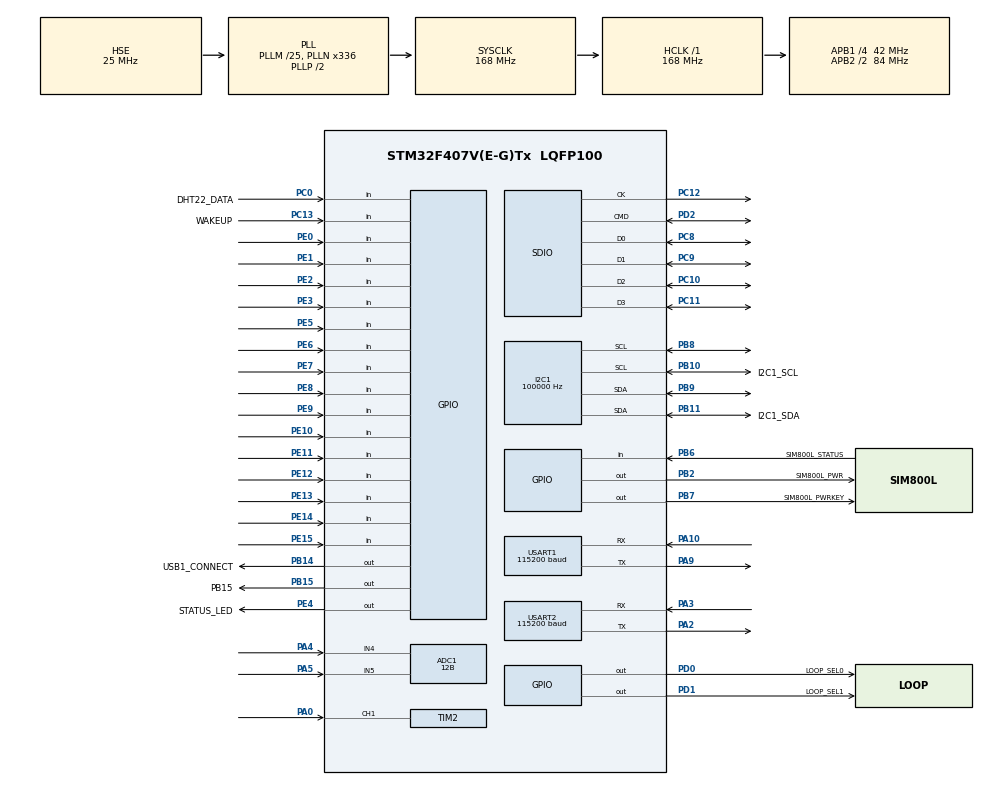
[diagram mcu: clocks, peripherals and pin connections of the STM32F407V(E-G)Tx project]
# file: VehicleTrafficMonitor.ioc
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Mcu.Family=STM32F4
Mcu.Name=STM32F407V(E-G)Tx
Mcu.Package=LQFP100
NVIC.PriorityGroup=NVIC_PRIORITYGROUP_4
NVIC.TIM2_IRQn=true\:5\:0\:true\:false\:true\:true\:true\:true
NVIC.TIM4_IRQn=true\:10\:0\:true\:false\:true\:true\:true\:true
NVIC.USART1_IRQn=true\:7\:0\:true\:false\:true\:true\:true\:true
NVIC.USART2_IRQn=true\:6\:0\:true\:false\:true\:true\:true\:true
PA0-WKUP.Signal=S_TIM2_CH1_ETR
PA10.Mode=Asynchronous
PA10.Signal=USART1_RX
PA13.Mode=Serial_Wire
PA13.Signal=SYS_JTMS-SWDIO
PA14.Mode=Serial_Wire
PA14.Signal=SYS_JTCK-SWCLK
PA2.Mode=Asynchronous
PA2.Signal=USART2_TX
PA3.Mode=Asynchronous
PA3.Signal=USART2_RX
PA4.Signal=ADCx_IN4
PA5.Signal=ADCx_IN5
PA8.GPIO_Label=MCO
PA8.Signal=RCC_MCO_1
PA9.Mode=Asynchronous
PA9.Signal=USART1_TX
PB10.GPIO_Label=I2C1_SCL
PB10.Mode=I2C
PB10.Signal=I2C1_SCL
PB11.GPIO_Label=I2C1_SDA
PB11.Mode=I2C
PB11.Signal=I2C1_SDA
PB14.GPIO_Label=USB1_CONNECT
PB14.GPIO_ModeDefaultOutputPP=GPIO_MODE_OUTPUT_PP
PB14.GPIO_PuPd=GPIO_NOPULL
PB14.Signal=GPIO_Output
PB15.GPIO_Label=PB15
PB15.GPIO_ModeDefaultOutputPP=GPIO_MODE_OUTPUT_PP
PB15.GPIO_PuPd=GPIO_NOPULL
PB15.Signal=GPIO_Output
PB2.GPIO_Label=SIM800L_PWR
PB2.GPIO_ModeDefaultOutputPP=GPIO_MODE_OUTPUT_PP
PB2.GPIO_PuPd=GPIO_NOPULL
PB2.Signal=GPIO_Output
PB6.GPIO_Label=SIM800L_STATUS
PB6.GPIO_PuPd=GPIO_PULLUP
PB6.Signal=GPIO_Input
PB7.GPIO_Label=SIM800L_PWRKEY
PB7.GPIO_ModeDefaultOutputPP=GPIO_MODE_OUTPUT_PP
PB7.GPIO_PuPd=GPIO_NOPULL
PB7.Signal=GPIO_Output
PB8.Mode=I2C
PB8.Signal=I2C1_SCL
PB9.Mode=I2C
PB9.Signal=I2C1_SDA
PC0.GPIO_Label=DHT22_DATA
PC0.Signal=GPIO_Input
PC10.Mode=SD_4_bits_Wide_bus
PC10.Signal=SDIO_D2
PC11.Mode=SD_4_bits_Wide_bus
PC11.Signal=SDIO_D3
PC12.Mode=SD_4_bits_Wide_bus
PC12.Signal=SDIO_CK
PC13-ANTI_TAMP.GPIO_Label=WAKEUP
PC13-ANTI_TAMP.GPIO_PuPd=GPIO_PULLUP
PC13-ANTI_TAMP.Signal=GPIO_Input
PC14-OSC32_IN.Mode=LSE-External-Oscillator
PC14-OSC32_IN.Signal=RCC_OSC32_IN
PC15-OSC32_OUT.Mode=LSE-External-Oscillator
PC15-OSC32_OUT.Signal=RCC_OSC32_OUT
PC8.Mode=SD_4_bits_Wide_bus
PC8.Signal=SDIO_D0
PC9.Mode=SD_4_bits_Wide_bus
PC9.Signal=SDIO_D1
PD0.GPIO_Label=LOOP_SEL0
PD0.GPIO_ModeDefaultOutputPP=GPIO_MODE_OUTPUT_PP
PD0.Signal=GPIO_Output
PD1.GPIO_Label=LOOP_SEL1
PD1.GPIO_ModeDefaultOutputPP=GPIO_MODE_OUTPUT_PP
PD1.Signal=GPIO_Output
PD2.Mode=SD_4_bits_Wide_bus
PD2.Signal=SDIO_CMD
PE0.Signal=GPIO_Input
PE1.Signal=GPIO_Input
PE10.Signal=GPIO_Input
PE11.Signal=GPIO_Input
PE12.Signal=GPIO_Input
PE13.Signal=GPIO_Input
PE14.Signal=GPIO_Input
PE15.Signal=GPIO_Input
PE2.Signal=GPIO_Input
PE3.Signal=GPIO_Input
PE4.GPIO_Label=STATUS_LED
PE4.GPIO_ModeDefaultOutputPP=GPIO_MODE_OUTPUT_PP
PE4.GPIO_PuPd=GPIO_NOPULL
PE4.Signal=GPIO_Output
PE5.Signal=GPIO_Input
PE6.Signal=GPIO_Input
PE7.Signal=GPIO_Input
PE8.Signal=GPIO_Input
PE9.Signal=GPIO_Input
PH0-OSC_IN.Mode=HSE-External-Oscillator
PH0-OSC_IN.Signal=RCC_OSC_IN
PH1-OSC_OUT.Mode=HSE-External-Oscillator
PH1-OSC_OUT.Signal=RCC_OSC_OUT
ProjectManager.HeapSize=0x200
ProjectManager.StackSize=0x400
ProjectManager.TargetToolchain=STM32CubeIDE
RCC.48MHZClocksFreq_Value=48000000
RCC.AHBFreq_Value=168000000
RCC.APB1CLKDivider=RCC_HCLK_DIV4
RCC.APB1Freq_Value=42000000
RCC.APB1TimFreq_Value=84000000
RCC.APB2CLKDivider=RCC_HCLK_DIV2
RCC.APB2Freq_Value=84000000
RCC.APB2TimFreq_Value=168000000
RCC.CortexFreq_Value=168000000
RCC.HCLKFreq_Value=168000000
RCC.HSE_VALUE=25000000
RCC.HSI_VALUE=16000000
RCC.LSE_VALUE=32768
RCC.PLLM=25
RCC.PLLN=336
RCC.PLLQ=7
RCC.PLLSourceVirtual=RCC_PLLSOURCE_HSE
RCC.SYSCLKFreq_VALUE=168000000
RCC.SYSCLKSource=RCC_SYSCLKSOURCE_PLLCLK
RCC.VCOOutputFreq_Value=336000000
SH.ADCx_IN4.0=ADC1_IN4,IN4
SH.ADCx_IN5.0=ADC1_IN5,IN5
SH.S_TIM2_CH1_ETR.0=TIM2_CH1,Input_Capture1_from_TI1
USART1.BaudRate=115200
USART1.VirtualMode=VM_ASYNC
USART2.BaudRate=115200
USART2.VirtualMode=VM_ASYNC
VP_IWDG_VS_IWDG.Mode=IWDG_Activate
VP_RTC_VS_RTC_Activate.Mode=RTC_Enabled
VP_TIM4_VS_ClockSourceINT.Mode=Internal
ADC1.Channel-0\#ChannelRegularConversion=ADC_CHANNEL_4
ADC1.Channel-1\#ChannelRegularConversion=ADC_CHANNEL_5
ADC1.ClockPrescaler=ADC_CLOCK_SYNC_PCLK_DIV4
ADC1.ContinuousConvMode=ENABLE
ADC1.DataAlign=ADC_DATAALIGN_RIGHT
ADC1.DiscontinuousConvMode=DISABLE
ADC1.DMAContinuousRequests=ENABLE
ADC1.EOCSelection=ADC_EOC_SEQ_CONV
ADC1.EnableAnalogWatchDog=false
ADC1.ExternalTrigConv=ADC_SOFTWARE_START
ADC1.ExternalTrigConvEdge=ADC_EXTERNALTRIGCONVEDGE_NONE
ADC1.NbrOfConversion=2
ADC1.NbrOfConversionFlag=1
ADC1.Rank-0\#ChannelRegularConversion=1
ADC1.Rank-1\#ChannelRegularConversion=2
ADC1.Resolution=ADC_RESOLUTION_12B
ADC1.SamplingTime-0\#ChannelRegularConversion=ADC_SAMPLETIME_15CYCLES
ADC1.SamplingTime-1\#ChannelRegularConversion=ADC_SAMPLETIME_15CYCLES
ADC1.ScanConvMode=ENABLE
ADC1.master=1
I2C1.ClockSpeed=100000
I2C1.I2C_Mode=I2C_Standard
IWDG.Prescaler=IWDG_PRESCALER_64
IWDG.Reload=625
RTC.Format=RTC_FORMAT_BIN
RTC.HourFormat=RTC_HOURFORMAT_24
RTC.AsynchPrediv=127
RTC.SynchPrediv=255
SDIO.ClockDiv=0
SDIO.ClockPowerSave=SDIO_CLOCK_POWER_SAVE_DISABLE
SDIO.BusWide=SDIO_BUS_WIDE_4B
SDIO.HardwareFlowControl=SDIO_HARDWARE_FLOW_CONTROL_DISABLE
TIM2.Channel-Input_Capture1_from_TI1=TIM_CHANNEL_1
TIM2.ICPolarity_CH1=TIM_INPUTCHANNELPOLARITY_RISING
TIM2.Period=65535
TIM2.Prescaler=167
TIM4.Period=1999
TIM4.Prescaler=83
board=custom

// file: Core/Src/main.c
/* USER CODE BEGIN Header */
/**
  ******************************************************************************
  * @file           : main.c
  * @brief          : Main program body - Vehicle Traffic Monitoring System
  * @author         : Generated by STM32CubeMX + Custom Application Code
  ******************************************************************************
  * @attention
  *
  * Copyright (c) 2024 STMicroelectronics.
  * All rights reserved.
  *
  * This software is licensed under terms that can be found in the LICENSE file
  * in the root directory of this software component.
  * If no LICENSE file comes with this software, it is provided AS-IS.
  *
  ******************************************************************************
  */
/* USER CODE END Header */
#include "main.h"
#include "tim.h"
#include "config.h"
#include "sensor_driver.h"
#include "sim800l_driver.h"
#include "vehicle_detection.h"
#include <string.h>
#include <stdio.h>

extern ADC_HandleTypeDef hadc1;
extern I2C_HandleTypeDef hi2c1;
extern RTC_HandleTypeDef hrtc;
extern SD_HandleTypeDef hsd;
extern TIM_HandleTypeDef htim2;
extern TIM_HandleTypeDef htim4;
extern UART_HandleTypeDef huart1;
extern UART_HandleTypeDef huart2;
extern IWDG_HandleTypeDef hiwdg;  // Defined in iwdg.c

/* USER CODE BEGIN PV */

// System state variables
static uint32_t system_tick = 0;
static uint32_t last_send_time = 0;
static uint8_t device_initialized = 0;

// Traffic statistics (use the built-in statistics from vehicle detection)
static uint16_t lane1_count = 0;
static uint16_t lane2_count = 0;

// Environmental data
static float temperature = 0.0f;
static float humidity = 0.0f;
static float battery_voltage = 0.0f;

// Serial console
static uint8_t console_rx_byte;

// SIM800L configuration
static SIM800L_Config_t sim800l_config = {
    .apn = DEFAULT_APN,
    .apn_user = DEFAULT_APN_USER,
    .apn_pass = DEFAULT_APN_PASS,
    .server_ip = DEFAULT_SERVER_IP,
    .server_port = DEFAULT_SERVER_PORT,
    .timeout_ms = SIM800L_RESPONSE_TIMEOUT
};

/* USER CODE END PV */

void SystemClock_Config(void);
static void MX_GPIO_Init(void);
static void MX_ADC1_Init(void);
static void MX_I2C1_Init(void);
static void MX_RTC_Init(void);
static void MX_SDIO_SD_Init(void);
// MX_TIM2_Init and MX_TIM4_Init are declared in tim.h
static void MX_USART1_UART_Init(void);
static void MX_USART2_UART_Init(void);
static void MX_IWDG_Init(void);
/* USER CODE BEGIN PFP */

static void Process_1ms_Tasks(void);
static void Process_10min_Tasks(void);
static void Read_Battery_Voltage(void);
static void Read_Temperature_Humidity(void);
static void Send_Data_To_Server(void);
static void Process_Console_Command(char *cmd);
static void Print_Console_Menu(void);

/* USER CODE END PFP */

/* USER CODE BEGIN 0 */

/**
  * @brief  Printf retarget for UART1 console
  */
int _write(int file, char *ptr, int len)
{
    HAL_UART_Transmit(&huart1, (uint8_t*)ptr, len, HAL_MAX_DELAY);
    return len;
}

/**
  * @brief  1ms periodic tasks
  */
static void Process_1ms_Tasks(void)
{
    system_tick++;

    // Process sensor readings
    Sensor_Process();

    // Process vehicle detection
    VehicleDetection_Process();
}

/**
  * @brief  10-minute periodic tasks
  */
static void Process_10min_Tasks(void)
{
    printf("\r\n[INFO] 10-minute interval reached. Preparing data transmission...\r\n");

    // Read environmental sensors
    Read_Temperature_Humidity();
    Read_Battery_Voltage();

    // Send data to server
    Send_Data_To_Server();

    // Reset statistics
    VehicleDetection_ResetInterval();
    lane1_count = 0;
    lane2_count = 0;

    last_send_time = system_tick;
}

/**
  * @brief  Read battery voltage via ADC
  */
static void Read_Battery_Voltage(void)
{
    uint32_t adc_value = 0;

    HAL_ADC_Start(&hadc1);
    if (HAL_ADC_PollForConversion(&hadc1, 100) == HAL_OK) {
        adc_value = HAL_ADC_GetValue(&hadc1);
        // Voltage divider: 12V -> 3.3V (R1=10k, R2=3.9k)
        // ADC 12-bit: 4095 = 3.3V
        // Actual voltage = (adc_value * 3.3 / 4095) * (10 + 3.9) / 3.9
        battery_voltage = (adc_value * 3.3f / 4095.0f) * 3.564f;
    }
    HAL_ADC_Stop(&hadc1);

    printf("[BATTERY] Voltage: %.2f V\r\n", battery_voltage);

    if (battery_voltage < 11.0f) {
        printf("[WARNING] Low battery voltage!\r\n");
    }
}

/**
  * @brief  Read temperature and humidity from DHT22 or SHT30
  */
static void Read_Temperature_Humidity(void)
{
    // TODO: Implement DHT22 or SHT30 reading based on hardware
    // For now, use dummy values
    temperature = 25.0f;
    humidity = 60.0f;

    printf("[SENSOR] Temperature: %.1f C, Humidity: %.1f %%\r\n", temperature, humidity);
}

/**
  * @brief  Send traffic data to server via SIM800L
  */
static void Send_Data_To_Server(void)
{
    char json_buffer[2048];
    int json_len = 0;

    // Get interval statistics
    const IntervalStats_t *stats = VehicleDetection_GetIntervalStats();

    const LaneStats_t *lane1 = &stats->lane[0];
    const LaneStats_t *lane2 = &stats->lane[1];

    // Build JSON payload
    json_len = snprintf(json_buffer, sizeof(json_buffer),
        "{"
        "\"device_id\":\"%s\","
        "\"timestamp\":%lu,"
        "\"lane1\":{"
            "\"total\":%u,"
            "\"class_x\":%u,\"class_a\":%u,\"class_b\":%u,"
            "\"class_c\":%u,\"class_d\":%u,\"class_e\":%u,"
            "\"avg_speed\":%u,"
            "\"occupancy\":%.2f"
        "},"
        "\"lane2\":{"
            "\"total\":%u,"
            "\"class_x\":%u,\"class_a\":%u,\"class_b\":%u,"
            "\"class_c\":%u,\"class_d\":%u,\"class_e\":%u,"
            "\"avg_speed\":%u,"
            "\"occupancy\":%.2f"
        "},"
        "\"environment\":{"
            "\"temperature\":%.1f,"
            "\"humidity\":%.1f,"
            "\"battery_voltage\":%.2f"
        "},"
        "\"status\":{"
            "\"sensor_status\":\"OK\","
            "\"uptime\":%lu"
        "}"
        "}",
        DEFAULT_DEVICE_ID,
        system_tick / 1000,
        lane1->total_vehicles,
        lane1->class_X.count, lane1->class_A.count, lane1->class_B.count,
        lane1->class_C.count, lane1->class_D.count, lane1->class_E.count,
        lane1->class_A.avg_speed,
        lane1->occupancy_rate,
        lane2->total_vehicles,
        lane2->class_X.count, lane2->class_A.count, lane2->class_B.count,
        lane2->class_C.count, lane2->class_D.count, lane2->class_E.count,
        lane2->class_A.avg_speed,
        lane2->occupancy_rate,
        temperature, humidity, battery_voltage,
        system_tick / 1000
    );

    printf("\r\n[DATA] JSON Payload (%d bytes):\r\n%s\r\n", json_len, json_buffer);

    // Temporarily skip SIM800L sending for testing
    printf("[INFO] SIM800L sending disabled (testing mode)\r\n");
    printf("[INFO] Data would be sent to %s:%d\r\n",
           sim800l_config.server_ip, sim800l_config.server_port);

    // Send via SIM800L (disabled for testing)
    // if (SIM800L_SendJSON(json_buffer) == HAL_OK) {
    //     printf("[SUCCESS] Data sent to server successfully!\r\n");
    // } else {
    //     printf("[ERROR] Failed to send data to server!\r\n");
    // }
}

/**
  * @brief  Process console command
  */
static void Process_Console_Command(char *cmd)
{
    if (strcmp(cmd, "help") == 0) {
        Print_Console_Menu();
    }
    else if (strcmp(cmd, "status") == 0) {
        printf("\r\n=== SYSTEM STATUS ===\r\n");
        printf("Device ID: %s\r\n", DEFAULT_DEVICE_ID);
        printf("Firmware: %s\r\n", FIRMWARE_VERSION);
        printf("Uptime: %lu seconds\r\n", system_tick / 1000);
        printf("Battery: %.2f V\r\n", battery_voltage);
        printf("Temperature: %.1f C\r\n", temperature);
        printf("Humidity: %.1f %%\r\n", humidity);
        printf("Lane 1 Count: %u vehicles\r\n", lane1_count);
        printf("Lane 2 Count: %u vehicles\r\n", lane2_count);
        printf("Next send: %lu seconds\r\n", (DATA_SEND_INTERVAL - (system_tick - last_send_time)) / 1000);
    }
    else if (strcmp(cmd, "calibrate") == 0) {
        printf("\r\n[INFO] Starting sensor calibration...\r\n");
        Sensor_Calibrate();
        printf("[SUCCESS] Calibration complete!\r\n");
    }
    else if (strcmp(cmd, "send") == 0) {
        printf("\r\n[INFO] Manual data transmission requested...\r\n");
        Process_10min_Tasks();
    }
    else if (strcmp(cmd, "reset") == 0) {
        printf("\r\n[INFO] System reset requested. Rebooting in 3 seconds...\r\n");
        HAL_Delay(3000);
        NVIC_SystemReset();
    }
    else {
        printf("\r\nUnknown command: '%s'. Type 'help' for available commands.\r\n", cmd);
    }
}

/**
  * @brief  Print console menu
  */
static void Print_Console_Menu(void)
{
    printf("\r\n");
    printf("========================================\r\n");
    printf("  Vehicle Traffic Monitoring System\r\n");
    printf("  Firmware v%s\r\n", FIRMWARE_VERSION);
    printf("========================================\r\n");
    printf("Available commands:\r\n");
    printf("  help       - Show this menu\r\n");
    printf("  status     - Show system status\r\n");
    printf("  calibrate  - Calibrate sensors\r\n");
    printf("  send       - Send data now (manual)\r\n");
    printf("  reset      - Reset system\r\n");
    printf("========================================\r\n\r\n");
}

/**
  * @brief  UART1 RX callback (console)
  */
void HAL_UART_RxCpltCallback(UART_HandleTypeDef *huart)
{
    static char cmd_buffer[64];
    static uint8_t cmd_index = 0;

    if (huart == &huart1) {
        // Echo character
        HAL_UART_Transmit(&huart1, &console_rx_byte, 1, 10);

        if (console_rx_byte == '\r' || console_rx_byte == '\n') {
            if (cmd_index > 0) {
                cmd_buffer[cmd_index] = '\0';
                printf("\r\n");
                Process_Console_Command(cmd_buffer);
                cmd_index = 0;
                printf("> ");
            }
        }
        else if (console_rx_byte == 8 || console_rx_byte == 127) { // Backspace
            if (cmd_index > 0) {
                cmd_index--;
                printf(" \b");
            }
        }
        else if (cmd_index < sizeof(cmd_buffer) - 1) {
            cmd_buffer[cmd_index++] = console_rx_byte;
        }

        // Re-enable RX interrupt
        HAL_UART_Receive_IT(&huart1, &console_rx_byte, 1);
    }
}

/**
  * @brief  TIM4 period elapsed callback (1ms tick)
  */
void HAL_TIM_PeriodElapsedCallback(TIM_HandleTypeDef *htim)
{
    if (htim == &htim4) {
        Process_1ms_Tasks();

        // Check for 10-minute interval
        if ((system_tick - last_send_time) >= DATA_SEND_INTERVAL) {
            Process_10min_Tasks();
        }
    }
}

/**
  * @brief  TIM2 Input Capture callback (sensor pulse)
  */
void HAL_TIM_IC_CaptureCallback(TIM_HandleTypeDef *htim)
{
    if (htim == &htim2) {
        Sensor_IC_Callback(htim);
    }
}

/**
  * @brief  Vehicle detected callback
  */
void VehicleDetection_Callback(const VehicleInfo_t *vehicle)
{
    const char *class_names[] = {"X", "A", "B", "C", "D", "E", "?"};
    const char *dir_names[] = {"UNKNOWN", "UNKNOWN", "UNKNOWN", "UNKNOWN", "UNKNOWN",
                               "UNKNOWN", "UNKNOWN", "UNKNOWN", "UNKNOWN", "UNKNOWN",
                               "UNKNOWN", "UNKNOWN", "FORWARD", "UNKNOWN", "UNKNOWN",
                               "UNKNOWN", "UNKNOWN", "UNKNOWN", "UNKNOWN", "UNKNOWN",
                               "UNKNOWN", "REVERSE"};

    // Map class enum to index
    uint8_t class_idx = 6; // Unknown
    if (vehicle->class == 'X') class_idx = 0;
    else if (vehicle->class == 'A') class_idx = 1;
    else if (vehicle->class == 'B') class_idx = 2;
    else if (vehicle->class == 'C') class_idx = 3;
    else if (vehicle->class == 'D') class_idx = 4;
    else if (vehicle->class == 'E') class_idx = 5;

    printf("[VEHICLE] Lane %u: Class %s, Speed %u km/h, Length %u cm, Dir %s\r\n",
           vehicle->lane_id + 1,
           class_names[class_idx],
           vehicle->speed,
           vehicle->length,
           dir_names[vehicle->direction]);

    // Update counters
    if (vehicle->lane_id == 0) {
        lane1_count++;
    } else if (vehicle->lane_id == 1) {
        lane2_count++;
    }

    // Check for violations
    if (vehicle->speed_violation) {
        printf("[WARNING] Speed violation detected!\r\n");
    }
    if (vehicle->wrong_direction) {
        printf("[WARNING] Wrong direction detected!\r\n");
    }
    if (vehicle->short_headway) {
        printf("[WARNING] Short headway detected!\r\n");
    }
}

/* USER CODE END 0 */

int main(void)
{

  /* MCU Configuration--------------------------------------------------------*/

  /* Reset of all peripherals, Initializes the Flash interface and the Systick. */
  HAL_Init();

  /* Configure the system clock */
  SystemClock_Config();

  /* Initialize all configured peripherals */
  MX_GPIO_Init();
  MX_ADC1_Init();
  MX_I2C1_Init();
  MX_RTC_Init();
  MX_SDIO_SD_Init();
  MX_TIM2_Init();
  MX_TIM4_Init();
  MX_USART1_UART_Init();
  MX_USART2_UART_Init();
  // MX_IWDG_Init();  // Disabled for testing - was causing reset loop
  /* USER CODE BEGIN 2 */

  // Print startup message
  printf("\r\n\r\n");
  printf("========================================\r\n");
  printf("  Vehicle Traffic Monitoring System\r\n");
  printf("  STM32F407VGT6 - Firmware v%s\r\n", FIRMWARE_VERSION);
  printf("  Device ID: %s\r\n", DEFAULT_DEVICE_ID);
  printf("========================================\r\n\r\n");

  // Initialize custom drivers
  printf("[INIT] Initializing sensor driver...\r\n");
  if (Sensor_Init(&htim2) != HAL_OK) {
      printf("[ERROR] Sensor initialization failed!\r\n");
  } else {
      printf("[OK] Sensor driver initialized\r\n");
  }

  // Temporarily skip SIM800L for sensor testing
  printf("[INIT] Skipping SIM800L module (testing mode)...\r\n");
  printf("[INFO] SIM800L will be enabled later\r\n");
  // if (SIM800L_Init(&huart2, &sim800l_config) != HAL_OK) {
  //     printf("[ERROR] SIM800L initialization failed!\r\n");
  // } else {
  //     printf("[OK] SIM800L module initialized\r\n");
  // }

  printf("[INIT] Initializing vehicle detection...\r\n");
  if (VehicleDetection_Init() != HAL_OK) {
      printf("[ERROR] Vehicle detection initialization failed!\r\n");
  } else {
      printf("[OK] Vehicle detection initialized\r\n");
  }

  // Start timers
  HAL_TIM_Base_Start_IT(&htim4);  // 1ms tick timer
  HAL_TIM_IC_Start_IT(&htim2, TIM_CHANNEL_1);  // Input capture for sensors

  // Start UART receive
  HAL_UART_Receive_IT(&huart1, &console_rx_byte, 1);

  printf("\r\n[READY] System initialized successfully!\r\n");
  printf("Type 'help' for available commands.\r\n");
  printf("> ");

  device_initialized = 1;
  last_send_time = system_tick;

  /* USER CODE END 2 */

  /* Infinite loop */
  while (1)
  {

    /* USER CODE BEGIN 3 */

      // Refresh watchdog (disabled for testing)
      // HAL_IWDG_Refresh(&hiwdg);

      // Main loop can be used for non-time-critical tasks
      // Most processing happens in interrupt callbacks

      HAL_Delay(100);
  }
  /* USER CODE END 3 */
}

void SystemClock_Config(void)
{
  RCC_OscInitTypeDef RCC_OscInitStruct = {0};
  RCC_ClkInitTypeDef RCC_ClkInitStruct = {0};

  /** Configure the main internal regulator output voltage
  */
  __HAL_RCC_PWR_CLK_ENABLE();
  __HAL_PWR_VOLTAGESCALING_CONFIG(PWR_REGULATOR_VOLTAGE_SCALE1);

  /** Initializes the RCC Oscillators according to the specified parameters
  * in the RCC_OscInitTypeDef structure.
  */
  RCC_OscInitStruct.OscillatorType = RCC_OSCILLATORTYPE_LSI|RCC_OSCILLATORTYPE_HSE
                              |RCC_OSCILLATORTYPE_LSE;
  RCC_OscInitStruct.HSEState = RCC_HSE_ON;
  RCC_OscInitStruct.LSEState = RCC_LSE_ON;
  RCC_OscInitStruct.LSIState = RCC_LSI_ON;
  RCC_OscInitStruct.PLL.PLLState = RCC_PLL_ON;
  RCC_OscInitStruct.PLL.PLLSource = RCC_PLLSOURCE_HSE;
  RCC_OscInitStruct.PLL.PLLM = 25;
  RCC_OscInitStruct.PLL.PLLN = 336;
  RCC_OscInitStruct.PLL.PLLP = RCC_PLLP_DIV2;
  RCC_OscInitStruct.PLL.PLLQ = 7;
  if (HAL_RCC_OscConfig(&RCC_OscInitStruct) != HAL_OK)
  {
    Error_Handler();
  }

  /** Initializes the CPU, AHB and APB buses clocks
  */
  RCC_ClkInitStruct.ClockType = RCC_CLOCKTYPE_HCLK|RCC_CLOCKTYPE_SYSCLK
                              |RCC_CLOCKTYPE_PCLK1|RCC_CLOCKTYPE_PCLK2;
  RCC_ClkInitStruct.SYSCLKSource = RCC_SYSCLKSOURCE_PLLCLK;
  RCC_ClkInitStruct.AHBCLKDivider = RCC_SYSCLK_DIV1;
  RCC_ClkInitStruct.APB1CLKDivider = RCC_HCLK_DIV4;
  RCC_ClkInitStruct.APB2CLKDivider = RCC_HCLK_DIV2;

  if (HAL_RCC_ClockConfig(&RCC_ClkInitStruct, FLASH_LATENCY_5) != HAL_OK)
  {
    Error_Handler();
  }
}

static void MX_ADC1_Init(void)
{

  ADC_ChannelConfTypeDef sConfig = {0};

  /** Configure the global features of the ADC (Clock, Resolution, Data Alignment and number of conversion)
  */
  hadc1.Instance = ADC1;
  hadc1.Init.ClockPrescaler = ADC_CLOCK_SYNC_PCLK_DIV4;
  hadc1.Init.Resolution = ADC_RESOLUTION_12B;
  hadc1.Init.ScanConvMode = DISABLE;
  hadc1.Init.ContinuousConvMode = DISABLE;
  hadc1.Init.DiscontinuousConvMode = DISABLE;
  hadc1.Init.ExternalTrigConvEdge = ADC_EXTERNALTRIGCONVEDGE_NONE;
  hadc1.Init.ExternalTrigConv = ADC_SOFTWARE_START;
  hadc1.Init.DataAlign = ADC_DATAALIGN_RIGHT;
  hadc1.Init.NbrOfConversion = 1;
  hadc1.Init.DMAContinuousRequests = DISABLE;
  hadc1.Init.EOCSelection = ADC_EOC_SINGLE_CONV;
  if (HAL_ADC_Init(&hadc1) != HAL_OK)
  {
    Error_Handler();
  }

  /** Configure for the selected ADC regular channel its corresponding rank in the sequencer and its sample time.
  */
  sConfig.Channel = ADC_CHANNEL_4;
  sConfig.Rank = 1;
  sConfig.SamplingTime = ADC_SAMPLETIME_3CYCLES;
  if (HAL_ADC_ConfigChannel(&hadc1, &sConfig) != HAL_OK)
  {
    Error_Handler();
  }

}

static void MX_I2C1_Init(void)
{

  hi2c1.Instance = I2C1;
  hi2c1.Init.ClockSpeed = 100000;
  hi2c1.Init.DutyCycle = I2C_DUTYCYCLE_2;
  hi2c1.Init.OwnAddress1 = 0;
  hi2c1.Init.AddressingMode = I2C_ADDRESSINGMODE_7BIT;
  hi2c1.Init.DualAddressMode = I2C_DUALADDRESS_DISABLE;
  hi2c1.Init.OwnAddress2 = 0;
  hi2c1.Init.GeneralCallMode = I2C_GENERALCALL_DISABLE;
  hi2c1.Init.NoStretchMode = I2C_NOSTRETCH_DISABLE;
  if (HAL_I2C_Init(&hi2c1) != HAL_OK)
  {
    Error_Handler();
  }

}

static void MX_RTC_Init(void)
{

  /** Initialize RTC Only
  */
  hrtc.Instance = RTC;
  hrtc.Init.HourFormat = RTC_HOURFORMAT_24;
  hrtc.Init.AsynchPrediv = 127;
  hrtc.Init.SynchPrediv = 255;
  hrtc.Init.OutPut = RTC_OUTPUT_DISABLE;
  hrtc.Init.OutPutPolarity = RTC_OUTPUT_POLARITY_HIGH;
  hrtc.Init.OutPutType = RTC_OUTPUT_TYPE_OPENDRAIN;
  if (HAL_RTC_Init(&hrtc) != HAL_OK)
  {
    Error_Handler();
  }

}

static void MX_SDIO_SD_Init(void)
{

  hsd.Instance = SDIO;
  hsd.Init.ClockEdge = SDIO_CLOCK_EDGE_RISING;
  hsd.Init.ClockBypass = SDIO_CLOCK_BYPASS_DISABLE;
  hsd.Init.ClockPowerSave = SDIO_CLOCK_POWER_SAVE_DISABLE;
  hsd.Init.BusWide = SDIO_BUS_WIDE_1B;
  hsd.Init.HardwareFlowControl = SDIO_HARDWARE_FLOW_CONTROL_DISABLE;
  hsd.Init.ClockDiv = 0;

}
// MX_TIM2_Init and MX_TIM4_Init are now in tim.c

static void MX_USART1_UART_Init(void)
{

  huart1.Instance = USART1;
  huart1.Init.BaudRate = 115200;
  huart1.Init.WordLength = UART_WORDLENGTH_8B;
  huart1.Init.StopBits = UART_STOPBITS_1;
  huart1.Init.Parity = UART_PARITY_NONE;
  huart1.Init.Mode = UART_MODE_TX_RX;
  huart1.Init.HwFlowCtl = UART_HWCONTROL_NONE;
  huart1.Init.OverSampling = UART_OVERSAMPLING_16;
  if (HAL_UART_Init(&huart1) != HAL_OK)
  {
    Error_Handler();
  }

}

static void MX_USART2_UART_Init(void)
{

  huart2.Instance = USART2;
  huart2.Init.BaudRate = 115200;
  huart2.Init.WordLength = UART_WORDLENGTH_8B;
  huart2.Init.StopBits = UART_STOPBITS_1;
  huart2.Init.Parity = UART_PARITY_NONE;
  huart2.Init.Mode = UART_MODE_TX_RX;
  huart2.Init.HwFlowCtl = UART_HWCONTROL_NONE;
  huart2.Init.OverSampling = UART_OVERSAMPLING_16;
  if (HAL_UART_Init(&huart2) != HAL_OK)
  {
    Error_Handler();
  }

}

static void MX_IWDG_Init(void)
{

  hiwdg.Instance = IWDG;
  hiwdg.Init.Prescaler = IWDG_PRESCALER_64;
  hiwdg.Init.Reload = 5000;
  if (HAL_IWDG_Init(&hiwdg) != HAL_OK)
  {
    Error_Handler();
  }

}

static void MX_GPIO_Init(void)
{
  GPIO_InitTypeDef GPIO_InitStruct = {0};

  /* GPIO Ports Clock Enable */
  __HAL_RCC_GPIOH_CLK_ENABLE();
  __HAL_RCC_GPIOC_CLK_ENABLE();
  __HAL_RCC_GPIOA_CLK_ENABLE();
  __HAL_RCC_GPIOB_CLK_ENABLE();
  __HAL_RCC_GPIOD_CLK_ENABLE();

  /*Configure GPIO pin Output Level */
  HAL_GPIO_WritePin(GPIOD, GPIO_PIN_0|GPIO_PIN_1, GPIO_PIN_RESET);

  /*Configure GPIO pin Output Level */
  HAL_GPIO_WritePin(GPIOB, GPIO_PIN_2|GPIO_PIN_6|GPIO_PIN_7, GPIO_PIN_RESET);

  /*Configure GPIO pins : PD0 PD1 */
  GPIO_InitStruct.Pin = GPIO_PIN_0|GPIO_PIN_1;
  GPIO_InitStruct.Mode = GPIO_MODE_OUTPUT_PP;
  GPIO_InitStruct.Pull = GPIO_NOPULL;
  GPIO_InitStruct.Speed = GPIO_SPEED_FREQ_LOW;
  HAL_GPIO_Init(GPIOD, &GPIO_InitStruct);

  /*Configure GPIO pins : PB2 PB6 PB7 */
  GPIO_InitStruct.Pin = GPIO_PIN_2|GPIO_PIN_6|GPIO_PIN_7;
  GPIO_InitStruct.Mode = GPIO_MODE_OUTPUT_PP;
  GPIO_InitStruct.Pull = GPIO_NOPULL;
  GPIO_InitStruct.Speed = GPIO_SPEED_FREQ_LOW;
  HAL_GPIO_Init(GPIOB, &GPIO_InitStruct);

}

void Error_Handler(void)
{
  __disable_irq();
  while (1)
  {
  }
}
